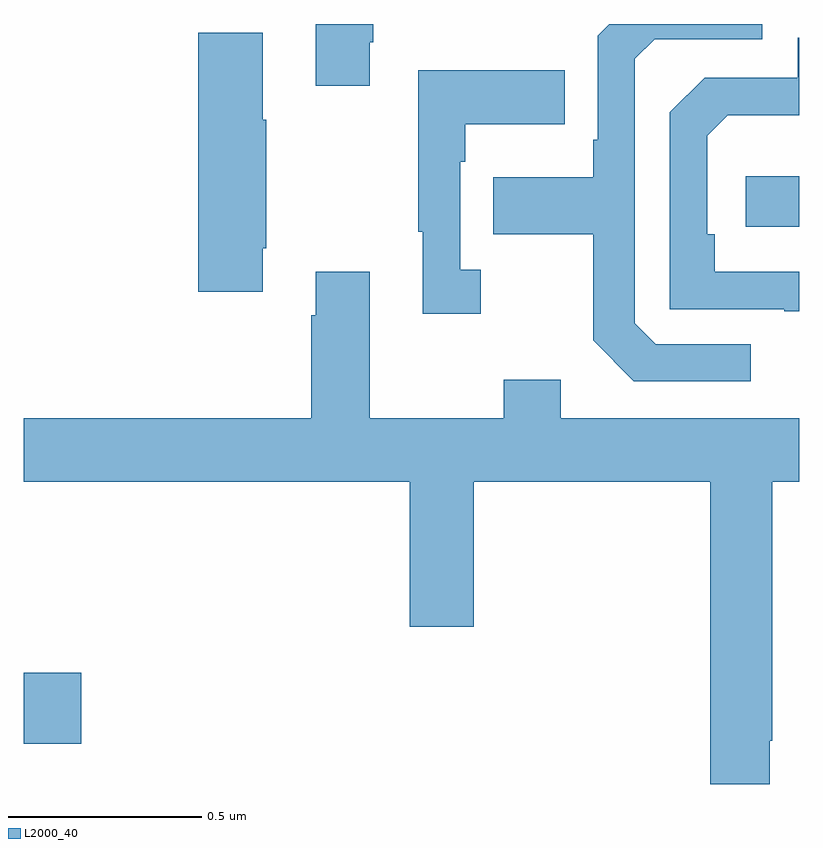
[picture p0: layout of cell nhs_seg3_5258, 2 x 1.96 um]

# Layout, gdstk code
import gdstk
lib = gdstk.Library(unit=1e-6, precision=1e-09)
def R(c, l, rs):  # rectangles x0, y0, x1, y1
    for r in rs: c.add(gdstk.rectangle(r[:2], r[2:], *l))
def P(c, l, *ps):  # polygons
    for p in ps: c.add(gdstk.Polygon(p, *l))
L2000_40 = (2000, 40)

nhs_seg3_5258 = lib.new_cell('nhs_seg3_5258')
R(nhs_seg3_5258, L2000_40, [(176,729.545,176.149,729.728), (177.861,730.878,178,731.008)])
P(nhs_seg3_5258, L2000_40, [(176.893,731.353),(176.901,731.353),(176.901,731.4),(176.753,731.4),(176.753,731.241),(176.893,731.241)],
  [(177.874,730.575),(177.63,730.575),(177.576,730.629),(177.576,731.31),(177.627,731.361),(177.904,731.361),(177.904,731.4),(177.51,731.4),(177.48,731.37),(177.48,731.101),(177.468,731.101),(177.468,731.005),(177.211,731.005),(177.211,730.858),(177.468,730.858),(177.468,730.585),(177.573,730.479),(177.874,730.479)],
  [(176.617,730.822),(176.625,730.822),(176.625,731.153),(176.617,731.153),(176.617,731.377),(176.45,731.377),(176.45,730.71),(176.617,730.71)],
  [(178,730.761),(177.782,730.761),(177.782,730.858),(177.762,730.858),(177.762,731.112),(177.815,731.165),(178,731.165),(178,731.364),(177.996,731.364),(177.996,731.262),(177.756,731.262),(177.666,731.172),(177.666,730.665),(177.961,730.665),(177.961,730.66),(178,730.66)],
  [(177.178,730.766),(177.126,730.766),(177.126,731.045),(177.139,731.045),(177.139,731.141),(177.395,731.141),(177.395,731.281),(177.018,731.281),(177.018,730.865),(177.029,730.865),(177.029,730.653),(177.178,730.653)],
  [(177.923,729.553),(177.93,729.553),(177.93,730.22),(178,730.22),(178,730.384),(177.385,730.384),(177.385,730.483),(177.238,730.483),(177.238,730.384),(176.893,730.384),(176.893,730.762),(176.753,730.762),(176.753,730.649),(176.741,730.649),(176.741,730.384),(176,730.384),(176,730.22),(176.996,730.22),(176.996,729.846),(177.16,729.846),(177.16,730.22),(177.77,730.22),(177.77,729.441),(177.923,729.441)])

lib.write_gds('nhs_seg3_5258.gds')
